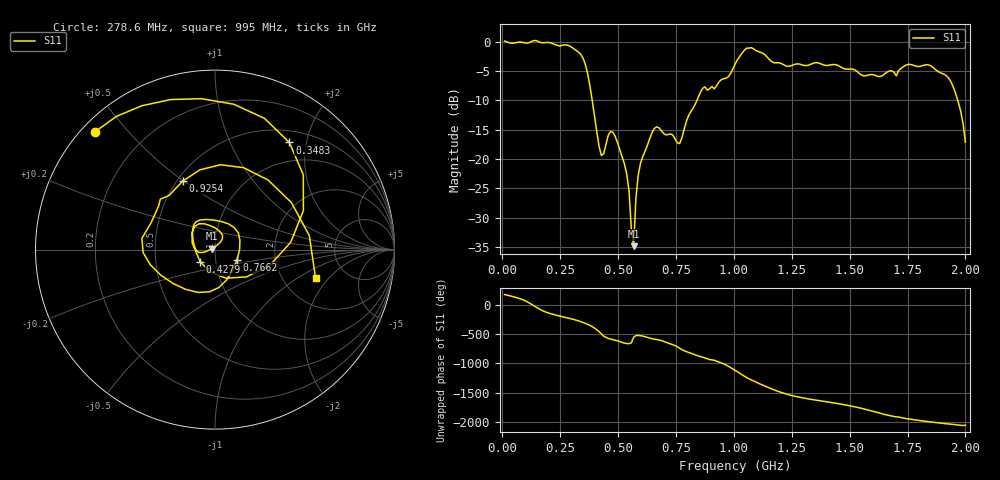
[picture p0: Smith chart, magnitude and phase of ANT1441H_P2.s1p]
!Created with skrf (http://scikit-rf.org).
# Hz S RI R 50.0
!freq ReS11 ImS11
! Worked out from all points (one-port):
!   201 points, 10 MHz to 2 GHz, reference 50 ohm
!   lowest |S11| = -34.9 dB at 567.2 MHz (marker M1), VSWR 1.04, Z = 48.3 + j0.495 ohm
!   |S11| at or under -10 dB: 388.3 MHz to 840.6 MHz (452.4 MHz wide, 73.6 % of centre); 1.967 GHz to end of sweep
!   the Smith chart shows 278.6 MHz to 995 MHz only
!   S11 on the Smith chart (normalised r, x): 278.6 MHz: 0.04, +0.41; 348.3 MHz: 0.67, +1.71; 427.9 MHz: 0.84, -0.12; 766.2 MHz: 1.27, -0.15; 925.4 MHz: 0.53, +0.49; 995 MHz: 3.04, -1.43
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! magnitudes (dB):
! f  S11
! 10 MHz  0.1
! 258.8 MHz  -0.6
! 278.6 MHz  -0.6
! 348.3 MHz  -2.8
! 368.2 MHz  -5.4
! 427.9 MHz  -19.4
! 467.7 MHz  -15.3
! 507.5 MHz  -18.4
! 537.4 MHz  -22.6
! 567.2 MHz  -34.9
! 577.1 MHz  -26.7
! 587.1 MHz  -22.8
! 646.8 MHz  -15.5
! 666.7 MHz  -14.5
! 756.2 MHz  -17.3
! 766.2 MHz  -17.4
! 865.7 MHz  -7.9
! 925.4 MHz  -7.5
! 995 MHz  -4.7
! 1.005 GHz  -3.9
! 1.075 GHz  -1.0
! 1.254 GHz  -4.0
! 1.502 GHz  -4.7
! 1.702 GHz  -5.8
! 1.751 GHz  -3.9
! 1.93 GHz  -6.4
! 1.98 GHz  -11.9
! 2 GHz  -17.1
